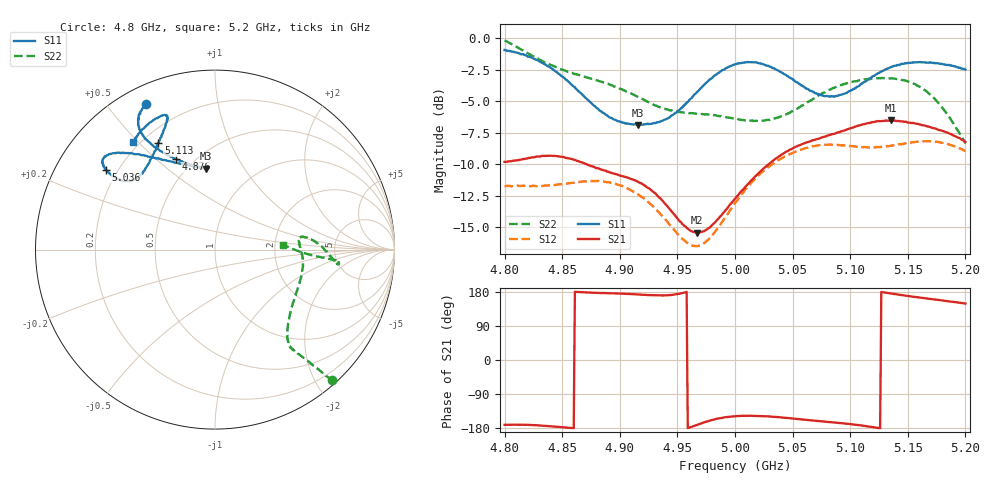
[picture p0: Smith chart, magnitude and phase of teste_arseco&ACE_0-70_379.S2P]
! Network Analyzer HP8722D
! Hewlett-Packard
! Data name: Linha & Wilkinson
! Saver's name: Rodrigo Anjos
! Comments: Teste da utilização de aquisição
! continua pelo VNA HP8722D
! Time and date: 8/5/2025 15:55
!  Frequency  S11  S21  S12  S22
# HZ  S  MA R 50
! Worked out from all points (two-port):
!   401 points, 4.8 GHz to 5.2 GHz, reference 50 ohm
!   highest |S21| = -6.51 dB at 5.135 GHz (marker M1); lowest = -15.4 dB at 4.967 GHz (marker M2)
!   |S21| within 3 dB of the highest: 4.821 GHz to 4.854 GHz (33.34 MHz wide, 0.689 % of centre); 5.036 GHz to end of sweep
!   lowest |S11| = -6.9 dB at 4.916 GHz (marker M3), VSWR 2.66, Z = 30.5 + j34.6 ohm
!   |S11| at or under -10 dB: nowhere
!   |S22| runs from -8.3 to -0.2 dB; largest |S21 - S12| = 0.83
!   S11 on the Smith chart (normalised r, x): 4.8 GHz: 0.08, +0.63; 4.876 GHz: 0.40, +0.58; 5.036 GHz: 0.16, +0.32; 5.113 GHz: 0.26, +0.57; 5.2 GHz: 0.18, +0.48
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4.8e9  0.8981 115.4  0.3233 -171.0  0.2593 -86.4  0.9794 -48.1
4.817e9  0.86 119.7  0.3316 -171.1  0.2597 -82.7  0.8876 -49.1
4.835e9  0.7878 122.1  0.3412 -173.7  0.2603 -77.1  0.8019 -50.3
4.867e9  0.5995 117.3  0.3217 178.8  0.2693 -68.2  0.7088 -52.0
4.876e9  0.5483 113.2  0.3101 177.6  0.2709 -67.4  0.6895 -52.4
4.899e9  0.4679 101.0  0.2862 175.3  0.2621 -67.9  0.6346 -50.5
4.916e9  0.4529 96.1  0.269 172.8  0.2399 -69.6  0.5839 -45.8
4.934e9  0.4644 100.3  0.2337 170.3  0.2039 -70.3  0.5337 -36.7
4.955e9  0.5366 115.2  0.1819 177.2  0.1589 -61.2  0.5078 -22.9
4.967e9  0.6115 123.3  0.1693 -171.2  0.1497 -48.2  0.5019 -15.7
4.979e9  0.6896 129.6  0.1791 -159.2  0.1627 -34.7  0.4958 -9.6
5e9  0.7877 137.3  0.2307 -148.5  0.2218 -21.7  0.4795 -0.4
5.018e9  0.8012 141.5  0.2842 -147.3  0.2788 -19.3  0.4702 5.6
5.036e9  0.7499 143.9  0.3342 -150.4  0.3241 -19.6  0.4831 8.4
5.067e9  0.6156 141.7  0.3933 -159.5  0.3724 -22.0  0.5704 3.6
5.088e9  0.5901 132.6  0.4213 -165.5  0.3768 -25.1  0.6409 -3.1
5.113e9  0.6725 118.0  0.4574 -174.2  0.3697 -28.0  0.6862 -6.5
5.134e9  0.7625 110.6  0.4703 176.2  0.3732 -30.1  0.693 -6.0
5.135e9  0.7674 110.5  0.4727 175.8  0.3747 -30.2  0.6929 -5.9
5.162e9  0.8022 112.5  0.4518 164.1  0.39 -37.0  0.635 -4.7
5.179e9  0.7919 118.4  0.4308 157.4  0.3848 -42.4  0.5367 -3.3
5.2e9  0.7506 127.3  0.3879 149.0  0.3567 -48.0  0.3826 4.0
